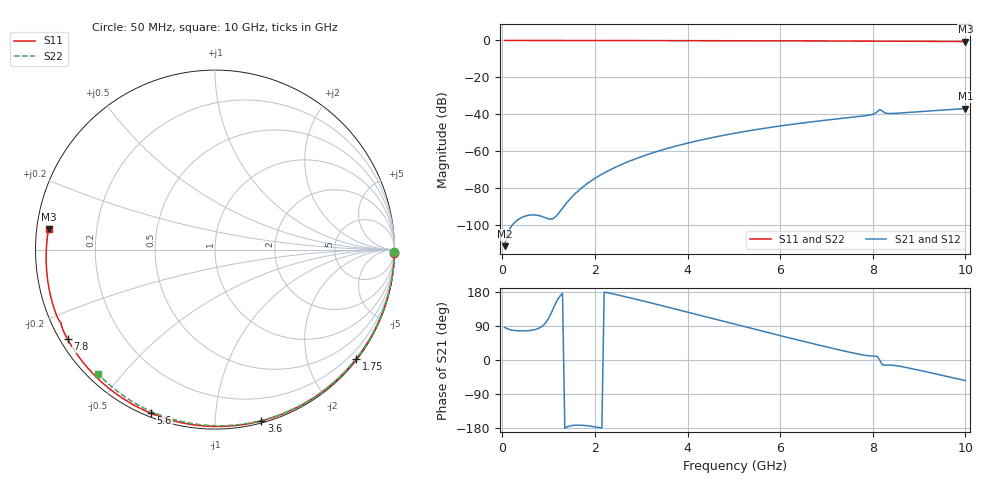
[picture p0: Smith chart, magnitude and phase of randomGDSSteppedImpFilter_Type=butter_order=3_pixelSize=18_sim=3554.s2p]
! freq	dB(S11)	phase(S11)	dB(S12)	phase(S12)
!  dB(S21)	phase(S21)	dB(S22)	phase(S22)
!S-par simulation data
#  GHz  S  DB  R 50
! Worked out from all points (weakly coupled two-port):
!   200 points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, 50 MHz to 10 GHz, reference 50 ohm
!   highest |S21| = -36.95 dB at 10 GHz (marker M1); lowest = -111.7 dB at 50 MHz (marker M2)
!   lowest |S11| = -0.6 dB at 10 GHz (marker M3), VSWR 29.49, Z = 1.7 + j3.05 ohm
!   |S11| at or under -10 dB: nowhere
!   |S22| runs from -0.4 to 0.0 dB; largest |S21 - S12| = 0
!   S11 on the Smith chart (normalised r, x): 50 MHz: open; 1.75 GHz: 0.03, -2.93; 3.6 GHz: 0.02, -1.31; 5.6 GHz: 0.02, -0.68; 7.8 GHz: 0.02, -0.28; 10 GHz: 0.03, +0.06
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0.05  -0.00 -1.1  -111.67 86.1  -111.67 86.1  -0.00 -0.8
0.45  -0.01 -9.9  -95.76 76.9  -95.76 76.9  -0.01 -6.9
0.85  -0.02 -18.6  -95.50 88.1  -95.50 88.1  -0.02 -13.0
1.7  -0.05 -36.6  -80.32 -172.1  -80.32 -172.1  -0.03 -25.8
1.75  -0.05 -37.7  -79.30 -172.4  -79.30 -172.4  -0.03 -26.6
2.05  -0.06 -43.9  -74.09 -177.3  -74.09 -177.3  -0.04 -31.0
2.45  -0.07 -52.1  -68.74 172.8  -68.74 172.8  -0.05 -36.9
2.9  -0.08 -61.2  -64.03 160.0  -64.03 160.0  -0.06 -43.4
3.4  -0.09 -71.0  -59.82 144.8  -59.82 144.8  -0.07 -50.6
3.6  -0.10 -74.8  -58.36 138.7  -58.36 138.7  -0.07 -53.4
4.3  -0.12 -88.0  -53.98 116.9  -53.98 116.9  -0.09 -63.1
5.05  -0.15 -101.6  -50.22 93.5  -50.22 93.5  -0.11 -73.2
5.6  -0.18 -111.3  -47.92 76.6  -47.92 76.6  -0.13 -80.3
6.7  -0.25 -130.2  -44.12 43.3  -44.12 43.3  -0.18 -94.3
7.8  -0.34 -148.7  -40.99 13.1  -40.99 13.1  -0.25 -107.6
8  -0.37 -152.2  -40.09 10.3  -40.09 10.3  -0.27 -110.0
8.05  -0.39 -153.1  -39.58 10.1  -39.58 10.1  -0.27 -110.5
8.15  -0.45 -154.5  -37.52 0.1  -37.52 0.1  -0.28 -111.6
8.25  -0.40 -156.0  -39.16 -13.7  -39.16 -13.7  -0.27 -112.9
8.35  -0.39 -157.8  -39.65 -13.2  -39.65 -13.2  -0.28 -114.1
9.2  -0.49 -172.6  -38.26 -32.3  -38.26 -32.3  -0.36 -124.0
10  -0.59 173.0  -36.95 -54.3  -36.95 -54.3  -0.44 -133.1
